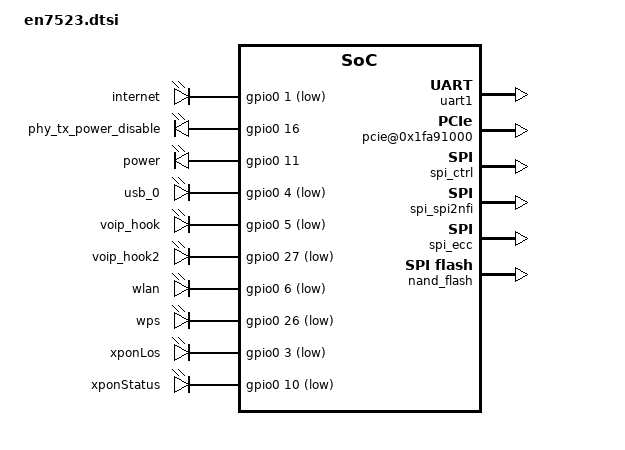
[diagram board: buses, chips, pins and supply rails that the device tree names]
// SPDX-License-Identifier: (GPL-2.0-only OR BSD-2-Clause)

#include <dt-bindings/interrupt-controller/irq.h>
#include <dt-bindings/interrupt-controller/arm-gic.h>
#include <dt-bindings/gpio/gpio.h>

/ {
	interrupt-parent = <&gic>;
	#address-cells = <1>;
	#size-cells = <1>;

	reserved-memory {
		#address-cells = <1>;
		#size-cells = <1>;
		ranges;

		npu_binary@84000000 {
			no-map;
			reg = <0x84000000 0xA00000>;
		};

		npu_flag@84B0000 {
			no-map;
			reg = <0x84B00000 0x100000>;
		};

		npu_pkt@85000000 {
			no-map;
			reg = <0x85000000 0x1A00000>;
		};

		npu_phyaddr@86B00000 {
			no-map;
			reg = <0x86B00000 0x100000>;
		};

		npu_rxdesc@86D00000 {
			no-map;
			reg = <0x86D00000 0x100000>;
		};
	};

	psci {
		compatible = "arm,psci-0.2";
		method = "smc";
	};

	cpus {
		#address-cells = <1>;
		#size-cells = <0>;

		cpu-map {
			cluster0 {
				core0 {
					cpu = <&cpu0>;
				};
				core1 {
					cpu = <&cpu1>;
				};
			};
		};

		cpu0: cpu@0 {
			device_type = "cpu";
			compatible = "arm,cortex-a53";
			reg = <0x0>;
			enable-method = "psci";
			clock-frequency = <80000000>;
			next-level-cache = <&L2_0>;
		};

		cpu1: cpu@1 {
			device_type = "cpu";
			compatible = "arm,cortex-a53";
			reg = <0x1>;
			enable-method = "psci";
			clock-frequency = <80000000>;
			next-level-cache = <&L2_0>;
		};

		L2_0: l2-cache0 {
			compatible = "cache";
		};
	};

	scu: system-controller@1fa20000 {
		compatible = "airoha,en7523-scu";
		reg = <0x1fa20000 0x400>,
		      <0x1fb00000 0x1000>;
		#clock-cells = <1>;
	};

	gic: interrupt-controller@9000000 {
		compatible = "arm,gic-v3";
		interrupt-controller;
		#interrupt-cells = <3>;
		#address-cells = <1>;
		#size-cells = <1>;
		reg = <0x09000000 0x20000>,
		      <0x09080000 0x80000>,
		      <0x09400000 0x2000>,
		      <0x09500000 0x2000>,
		      <0x09600000 0x20000>;
		interrupts = <GIC_PPI 9 IRQ_TYPE_LEVEL_LOW>;
	};

	timer {
		compatible = "arm,armv8-timer";
		interrupt-parent = <&gic>;
		interrupts = <GIC_PPI 13 IRQ_TYPE_LEVEL_LOW>,
			     <GIC_PPI 14 IRQ_TYPE_LEVEL_LOW>,
			     <GIC_PPI 11 IRQ_TYPE_LEVEL_LOW>,
			     <GIC_PPI 10 IRQ_TYPE_LEVEL_LOW>;
	};

	uart1: serial@1fbf0000 {
		compatible = "ns16550";
		reg = <0x1fbf0000 0x30>;
		reg-io-width = <4>;
		reg-shift = <2>;
		interrupts = <GIC_SPI 18 IRQ_TYPE_LEVEL_HIGH>;
		clock-frequency = <1843200>;
		status = "okay";
	};

	gpio0: gpio@1fbf0200 {
		compatible = "airoha,en7523-gpio";
		reg = <0x1fbf0204 0x4>,
		      <0x1fbf0200 0x4>,
		      <0x1fbf0220 0x4>,
		      <0x1fbf0214 0x4>;
		gpio-controller;
		#gpio-cells = <2>;
	};

	gpio1: gpio@1fbf0270 {
		compatible = "airoha,en7523-gpio";
		reg = <0x1fbf0270 0x4>,
		      <0x1fbf0260 0x4>,
		      <0x1fbf0264 0x4>,
		      <0x1fbf0278 0x4>;
		gpio-controller;
		#gpio-cells = <2>;
	};

	pcie@0x1fa91000 {
	  compatible = "ecnt,pcie-ecnt";
	  device_type = "pci";
	  reg = <0x1fa91000 0x1000>,
		      <0x1fa92000 0x1000>,
		      <0x1fa90000 0x1000>,	/* pcie top*/
		      <0x1a100000 0x1000>,	/* switch lane */
		      <0x1a148000 0x1000>,	/* 4, rc0 phy base, for change xtal setting */
		      <0x1a14a000 0x1000>;	/* 5, rc1 phy base, for change xtal setting */
    interrupts = <GIC_SPI 39 IRQ_TYPE_LEVEL_HIGH>,  //23+16
          		   <GIC_SPI 40 IRQ_TYPE_LEVEL_HIGH>;  //24+16
	  bus-range = <0x00 0xff>;
	  #address-cells = <3>;
	  #size-cells = <2>;
	  /* change xtal for 40M, default is 25M */
	  /* change-xtal; */
	  /* disable io coherent for RC and EP default. */
	  /*dma-coherent;*/
	  ranges = <0x82000000 0 0x20000000  0x20000000  0 0x4000000>;

	  pcie0: pcie@0,0 {
	    device_type = "pci";
	    reg = <0x0000 0 0 0 0>;
	    #address-cells = <3>;
	    #size-cells = <2>;
	    #interrupt-cells = <1>;
	    ranges;
	    interrupt-map-mask = <0 0 0 7>;
	    interrupt-map = <0 0 0 1 &pcie_intc0 1>,
			    		        <0 0 0 2 &pcie_intc0 2>,
					            <0 0 0 3 &pcie_intc0 3>,
					            <0 0 0 4 &pcie_intc0 4>;
	    pcie-port = <0>;
	    num-lanes = <1>;
	    status = "okay";
	    pcie_intc0: interrupt-controller {
	          	      interrupt-controller;
				            #address-cells = <0>;
				            #interrupt-cells = <1>;
			            };
	  };

	  pcie1: pcie@1,0 {
			device_type = "pci";
			reg = <0x0800 0 0 0 0>;
			#address-cells = <3>;
			#size-cells = <2>;
			#interrupt-cells = <1>;
			ranges;
			interrupt-map-mask = <0 0 0 7>;
			interrupt-map = <0 0 0 1 &pcie_intc1 1>,
			            		<0 0 0 2 &pcie_intc1 2>,
					            <0 0 0 3 &pcie_intc1 3>,
					            <0 0 0 4 &pcie_intc1 4>;
			pcie-port = <1>;
			num-lanes = <1>;
			status = "okay";
			pcie_intc1: interrupt-controller {
				            interrupt-controller;
				            #address-cells = <0>;
				            #interrupt-cells = <1>;
			            };
		};
	};

	spi_ctrl: spi_controller@1fa10000 {
		compatible = "econet,ecnt-spi_ctrl";
		reg = <0x1fa10000 0x140>,		//SPI Controller Base
			  <0x00000000 0x1000>;		//SPI Controller auto read interrupt test
		interrupts = <GIC_SPI 51 IRQ_TYPE_LEVEL_HIGH>;
	};

	spi_spi2nfi: spi_spi2nfi@1fa11000 {
		compatible = "econet,ecnt-spi2nfi";
		reg = <0x1fa11000 0x160>;	//NFI2SPI
	};

	spi_ecc: spi_ecc@1fa12000 {
		compatible = "econet,ecnt-spi_ecc";
		reg = <0x1fa12000 0x150>;	//NFI ECC
	};

	nand_flash: nand@1fa10000 {
		compatible = "econet,ecnt-nand";
		spi-controller = <&spi_ctrl>;
		spi2nfi = <&spi_spi2nfi>;
		spi-ecc = <&spi_ecc>;
	};
	
	partition@1fa10000 {
		compatible = "econet,ecnt-partition";
		#address-cells = <1>;
		#size-cells = <1>;

		partitions {
			compatible = "fixed-partitions";
			#address-cells = <1>;
			#size-cells = <1>;

			bootloader@0 {
				label = "bootloader";
				reg = <0x00000000 0x00080000>;
			};
			art@80000 {
				label = "art";
				reg = <0x00080000 0x00040000>;
			};
			tclinux@c0000 {
				label = "tclinux";
				reg = <0x000c0000 0x02800000>;
			};
			tclinux_slave@28c0000 {
				label = "tclinux_slave";
				reg = <0x028c0000 0x02800000>;
			};		
			rootfs_data@50c0000 {
				label = "rootfs_data";
				reg = <0x050c0000 0x00800000>;
			};
		};
	};

	leds {
		compatible = "gpio-leds";

		internet {
			label = "internet";
			gpios = <&gpio0 1 GPIO_ACTIVE_LOW>;
			linux,default-trigger = "dsldev";
		};
		phy_tx_power_disable {
			label = "phy_tx_power_disable";
			gpios = <&gpio0 16 GPIO_ACTIVE_HIGH>;
			linux,default-trigger = "dsldev";
		};
		power {
			label = "power";
			gpios = <&gpio0 11 GPIO_ACTIVE_HIGH>;
			linux,default-trigger = "dsldev";
		};
		usb_0 {
			label = "usb_0";
			gpios = <&gpio0 4 GPIO_ACTIVE_LOW>;
			linux,default-trigger = "dsldev";
		};
		voip_hook {
			label = "voip_hook";
			gpios = <&gpio0 5 GPIO_ACTIVE_LOW>;
			linux,default-trigger = "dsldev";
		};
		voip_hook2 {
			label = "voip_hook2";
			gpios = <&gpio0 27 GPIO_ACTIVE_LOW>;
			linux,default-trigger = "dsldev";
		};
		wlan {
			label = "wlan";
			gpios = <&gpio0 6 GPIO_ACTIVE_LOW>;
			linux,default-trigger = "dsldev";
		};
		wps {
			label = "wps";
			gpios = <&gpio0 26 GPIO_ACTIVE_LOW>;
			linux,default-trigger = "dsldev";
		};
		xponLos {
			label = "xponLos";
			gpios = <&gpio0 3 GPIO_ACTIVE_LOW>;
			linux,default-trigger = "dsldev";
		};
		
		xponStatus {
			label = "xponStatus";
			gpios = <&gpio0 10 GPIO_ACTIVE_LOW>;
			linux,default-trigger = "dsldev";
		};
	};
};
